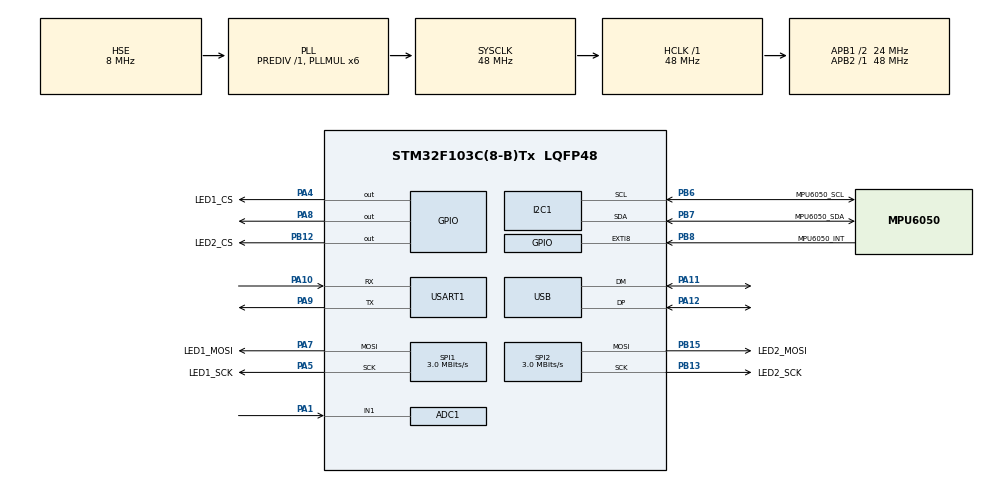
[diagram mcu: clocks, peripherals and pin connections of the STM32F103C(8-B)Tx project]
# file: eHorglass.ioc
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ADC1.Channel-1\#ChannelRegularConversion=ADC_CHANNEL_1
ADC1.NbrOfConversionFlag=1
ADC1.Rank-1\#ChannelRegularConversion=1
ADC1.SamplingTime-1\#ChannelRegularConversion=ADC_SAMPLETIME_1CYCLE_5
ADC1.master=1
Dma.Request0=USART1_RX
Dma.USART1_RX.0.Direction=DMA_PERIPH_TO_MEMORY
Dma.USART1_RX.0.Instance=DMA1_Channel5
Dma.USART1_RX.0.MemDataAlignment=DMA_MDATAALIGN_BYTE
Dma.USART1_RX.0.MemInc=DMA_MINC_ENABLE
Dma.USART1_RX.0.Mode=DMA_NORMAL
Dma.USART1_RX.0.PeriphDataAlignment=DMA_PDATAALIGN_BYTE
Dma.USART1_RX.0.PeriphInc=DMA_PINC_DISABLE
Dma.USART1_RX.0.Priority=DMA_PRIORITY_LOW
I2C1.I2C_Mode=I2C_Fast
Mcu.Family=STM32F1
Mcu.Name=STM32F103C(8-B)Tx
Mcu.Package=LQFP48
NVIC.I2C1_EV_IRQn=true\:0\:0\:false\:false\:true\:true\:true\:true
NVIC.PriorityGroup=NVIC_PRIORITYGROUP_4
NVIC.SPI1_IRQn=true\:0\:0\:false\:false\:true\:true\:true\:true
NVIC.SPI2_IRQn=true\:0\:0\:false\:false\:true\:true\:true\:true
NVIC.USART1_IRQn=true\:0\:0\:false\:false\:true\:true\:true\:true
NVIC.USB_LP_CAN1_RX0_IRQn=true\:0\:0\:false\:false\:true\:false\:true\:true
PA1.Signal=ADCx_IN1
PA10.Mode=Asynchronous
PA10.Signal=USART1_RX
PA11.Mode=Device
PA11.Signal=USB_DM
PA12.Mode=Device
PA12.Signal=USB_DP
PA13.GPIO_Label=SWDIO
PA13.Mode=Serial_Wire
PA13.Signal=SYS_JTMS-SWDIO
PA14.GPIO_Label=SWCLK
PA14.Mode=Serial_Wire
PA14.Signal=SYS_JTCK-SWCLK
PA4.GPIO_Label=LED1_CS
PA4.Signal=GPIO_Output
PA5.GPIO_Label=LED1_SCK
PA5.Mode=TX_Only_Simplex_Unidirect_Master
PA5.Signal=SPI1_SCK
PA7.GPIO_Label=LED1_MOSI
PA7.Mode=TX_Only_Simplex_Unidirect_Master
PA7.Signal=SPI1_MOSI
PA8.GPIO_ModeDefaultOutputPP=GPIO_MODE_OUTPUT_OD
PA8.GPIO_PuPd=GPIO_PULLUP
PA8.Signal=GPIO_Output
PA9.Mode=Asynchronous
PA9.Signal=USART1_TX
PB12.GPIO_Label=LED2_CS
PB12.Signal=GPIO_Output
PB13.GPIO_Label=LED2_SCK
PB13.Mode=TX_Only_Simplex_Unidirect_Master
PB13.Signal=SPI2_SCK
PB15.GPIO_Label=LED2_MOSI
PB15.Mode=TX_Only_Simplex_Unidirect_Master
PB15.Signal=SPI2_MOSI
PB6.GPIO_Label=MPU6050_SCL
PB6.GPIO_Speed=GPIO_SPEED_FREQ_MEDIUM
PB6.Mode=I2C
PB6.Signal=I2C1_SCL
PB7.GPIO_Label=MPU6050_SDA
PB7.GPIO_Speed=GPIO_SPEED_FREQ_MEDIUM
PB7.Mode=I2C
PB7.Signal=I2C1_SDA
PB8.GPIO_Label=MPU6050_INT
PB8.Signal=GPXTI8
PD0-OSC_IN.Mode=HSE-External-Oscillator
PD0-OSC_IN.Signal=RCC_OSC_IN
PD1-OSC_OUT.Mode=HSE-External-Oscillator
PD1-OSC_OUT.Signal=RCC_OSC_OUT
ProjectManager.HeapSize=0x2000
ProjectManager.StackSize=0x2000
ProjectManager.TargetToolchain=EWARM V8.32
RCC.ADCPresc=RCC_ADCPCLK2_DIV4
RCC.AHBFreq_Value=48000000
RCC.APB1CLKDivider=RCC_HCLK_DIV2
RCC.APB1Freq_Value=24000000
RCC.APB1TimFreq_Value=48000000
RCC.APB2Freq_Value=48000000
RCC.APB2TimFreq_Value=48000000
RCC.HCLKFreq_Value=48000000
RCC.PLLMUL=RCC_PLL_MUL6
RCC.PLLSourceVirtual=RCC_PLLSOURCE_HSE
RCC.SYSCLKFreq_VALUE=48000000
RCC.SYSCLKSource=RCC_SYSCLKSOURCE_PLLCLK
RCC.USBFreq_Value=48000000
SH.ADCx_IN1.0=ADC1_IN1,IN1
SPI1.BaudRatePrescaler=SPI_BAUDRATEPRESCALER_16
SPI1.CalculateBaudRate=3.0 MBits/s
SPI1.Direction=SPI_DIRECTION_2LINES
SPI1.Mode=SPI_MODE_MASTER
SPI1.VirtualType=VM_MASTER
SPI2.BaudRatePrescaler=SPI_BAUDRATEPRESCALER_8
SPI2.CalculateBaudRate=3.0 MBits/s
SPI2.Direction=SPI_DIRECTION_2LINES
SPI2.Mode=SPI_MODE_MASTER
SPI2.VirtualType=VM_MASTER
TIM3.Prescaler=72-1
USART1.VirtualMode=VM_ASYNC
USB_DEVICE.CLASS_NAME_FS=CDC
USB_DEVICE.VirtualMode=Cdc
USB_DEVICE.VirtualModeFS=Cdc_FS
VP_TIM3_VS_ClockSourceINT.Mode=Internal
VP_USB_DEVICE_VS_USB_DEVICE_CDC_FS.Mode=CDC_FS
board=custom

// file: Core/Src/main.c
/* USER CODE BEGIN Header */
/**
 ******************************************************************************
 * @file           : main.c
 * @brief          : Main program body
 ******************************************************************************
 * @attention
 *
 * Copyright (c) 2023 STMicroelectronics.
 * All rights reserved.
 *
 * This software is licensed under terms that can be found in the LICENSE file
 * in the root directory of this software component.
 * If no LICENSE file comes with this software, it is provided AS-IS.
 *
 ******************************************************************************
 */
/* USER CODE END Header */
#include "main.h"
#include "adc.h"
#include "dma.h"
#include "i2c.h"
#include "spi.h"
#include "tim.h"
#include "usart.h"
#include "usb_device.h"
#include "gpio.h"

/* USER CODE BEGIN Includes */
#include "usbd_cdc_if.h"
#include "stdio.h"
#include "stdlib.h"
#include "string.h"
#include "spi.h"
#include "MAX7219.h"
#include "MPU6050.h"
#include "common.h"
#include "SandMove.h"
#include "Runtime.h"
#include "AT.h"
#include "Parameter.h"
/* USER CODE END Includes */

/* USER CODE BEGIN PTD */
#define UART_BUFFER_SIZE 256
/* USER CODE END PTD */

/* USER CODE BEGIN PM */
struct parameters runPara;
uint8_t ledScreen1[LED_WIDTH * LED_WIDTH];
uint8_t ledScreen2[LED_WIDTH * LED_WIDTH];
uint8_t ledScreenData1[LED_WIDTH];
uint8_t ledScreenData2[LED_WIDTH];
uint8_t Uart_Buffer[UART_BUFFER_SIZE];
/* USER CODE END PM */

/* USER CODE BEGIN PV */
void HAL_UARTEx_RxEventCallback(UART_HandleTypeDef* huart, uint16_t Size)
{
    if (huart == &huart1)
    {
        AT_ParseCommand(Uart_Buffer);
        memset(Uart_Buffer, 0, UART_BUFFER_SIZE);
        HAL_UARTEx_ReceiveToIdle_DMA(&huart1, Uart_Buffer, UART_BUFFER_SIZE);
    }
}
/* USER CODE END PV */

void SystemClock_Config(void);

int main(void)
{

  /* MCU Configuration--------------------------------------------------------*/

  /* Reset of all peripherals, Initializes the Flash interface and the Systick. */
  HAL_Init();

  /* Configure the system clock */
  SystemClock_Config();

  /* Initialize all configured peripherals */
  MX_GPIO_Init();
  MX_DMA_Init();
  MX_I2C1_Init();
  MX_SPI1_Init();
  MX_SPI2_Init();
  MX_USART1_UART_Init();
  MX_USB_DEVICE_Init();
  MX_ADC1_Init();
  MX_TIM3_Init();
  /* USER CODE BEGIN 2 */

    max7219_handle led1_handle;
    max7219_handle led2_handle;
    led1_handle.spiHandle = &hspi1;
    led1_handle.CS_GPIO = LED1_CS_GPIO_Port;
    led1_handle.CS_Pin = LED1_CS_Pin;
    led2_handle.spiHandle = &hspi2;
    led2_handle.CS_GPIO = LED2_CS_GPIO_Port;
    led2_handle.CS_Pin = LED2_CS_Pin;
    Max7219_Init(led1_handle);
    Max7219_Init(led2_handle);
    Max7219_DisplayNromal(led1_handle);
    Max7219_DisplayNromal(led2_handle);

    LoadParameters(&runPara);
    AT_Init(&runPara);
    Runtime_Init();
    HAL_ADC_Start(&hadc1);
    HAL_ADC_PollForConversion(&hadc1, 50);
    uint16_t ADC_vaule = HAL_ADC_GetValue(&hadc1);

    MPU6050_Init();
    while(MPU6050ReadID() == 0){
      MPU6050_Init();
      HAL_Delay(200);
    }

    srand(ADC_vaule);

    HAL_Delay(200);
    uint8_t gDirection = MPU6050_GetDirection(0);

    for (uint8_t i = 0;i < LED_WIDTH * LED_WIDTH;i++) {
        ledScreen1[i] = EMPTY;
        ledScreen2[i] = EMPTY;
    }
    if (Sand_GetUpLed(gDirection) == LED_SCREEN_1) {
        for (uint8_t i = 0;i < runPara.sandNum;i++) {
            coord xy = Sand_GetLoopCoord(i, gDirection, LEFT);
            ledScreen1[xy.x * LED_WIDTH + xy.y] = FULL;
        }
    }
    else {
        for (uint8_t i = 0;i < runPara.sandNum;i++) {
            coord xy = Sand_GetLoopCoord(i, gDirection, LEFT);
            ledScreen2[xy.x * LED_WIDTH + xy.y] = FULL;
        }
    }

    memset(Uart_Buffer, 0, UART_BUFFER_SIZE);
    HAL_UARTEx_ReceiveToIdle_DMA(&huart1, Uart_Buffer, UART_BUFFER_SIZE);

    Max7219_Display(led1_handle, 0, ledScreenData1);
    Max7219_Display(led2_handle, 0, ledScreenData2);
  /* USER CODE END 2 */

  /* Infinite loop */
    while (1)
    {

    /* USER CODE BEGIN 3 */

        Runtime_Start();

        gDirection = MPU6050_GetDirection(0);

        uint8_t upLED = Sand_GetUpLed(gDirection);
        uint8_t downLED = Sand_GetDownLed(gDirection);
        uint8_t* nowScreen = NULL;
        uint8_t* nextScreen = NULL;
        uint8_t nowLEDNum = downLED;
        for (uint8_t i = 0;i < LED_WIDTH;i++) {
            for (uint8_t j = 0;j < LED_WIDTH;j++) {
                if (upLED == LED_SCREEN_1) {
                    nowScreen = ledScreen2;
                    nextScreen = ledScreen1;
                }
                else {
                    nowScreen = ledScreen1;
                    nextScreen = ledScreen2;
                }
            }
        }

        Sand_UpdateScreen(nowScreen, nextScreen, nowLEDNum, runPara.sandNum, gDirection);
        nowLEDNum = 1 - nowLEDNum;
        Sand_UpdateScreen(nextScreen, nowScreen, nowLEDNum, runPara.sandNum, gDirection);

        for (uint8_t i = 0;i < LED_WIDTH;i++) {
            uint8_t ledBuf1 = 0;
            uint8_t ledBuf2 = 0;
            for (uint8_t j = 0;j < LED_WIDTH;j++) {
                ledBuf1 = ledBuf1 + (ledScreen1[i * LED_WIDTH + j] << j);
                ledBuf2 = ledBuf2 + (ledScreen2[i * LED_WIDTH + j] << j);
            }
            ledScreenData1[i] = ledBuf1;
            ledScreenData2[i] = ledBuf2;
        }
        Max7219_Display(led1_handle, 0, ledScreenData1);
        Max7219_Display(led2_handle, 0, ledScreenData2);
        uint32_t codeRuntime = Runtime_Stop() / 1000;
        if (codeRuntime < runPara.frameTime) {
            HAL_Delay(runPara.frameTime - codeRuntime);
        }
        //HAL_GPIO_TogglePin(TEST_GPIO_Port, TEST_Pin);
    }
  /* USER CODE END 3 */
}

void SystemClock_Config(void)
{
  RCC_OscInitTypeDef RCC_OscInitStruct = {0};
  RCC_ClkInitTypeDef RCC_ClkInitStruct = {0};
  RCC_PeriphCLKInitTypeDef PeriphClkInit = {0};

  /** Initializes the RCC Oscillators according to the specified parameters
  * in the RCC_OscInitTypeDef structure.
  */
  RCC_OscInitStruct.OscillatorType = RCC_OSCILLATORTYPE_HSE;
  RCC_OscInitStruct.HSEState = RCC_HSE_ON;
  RCC_OscInitStruct.HSEPredivValue = RCC_HSE_PREDIV_DIV1;
  RCC_OscInitStruct.HSIState = RCC_HSI_ON;
  RCC_OscInitStruct.PLL.PLLState = RCC_PLL_ON;
  RCC_OscInitStruct.PLL.PLLSource = RCC_PLLSOURCE_HSE;
  RCC_OscInitStruct.PLL.PLLMUL = RCC_PLL_MUL6;
  if (HAL_RCC_OscConfig(&RCC_OscInitStruct) != HAL_OK)
  {
    Error_Handler();
  }

  /** Initializes the CPU, AHB and APB buses clocks
  */
  RCC_ClkInitStruct.ClockType = RCC_CLOCKTYPE_HCLK|RCC_CLOCKTYPE_SYSCLK
                              |RCC_CLOCKTYPE_PCLK1|RCC_CLOCKTYPE_PCLK2;
  RCC_ClkInitStruct.SYSCLKSource = RCC_SYSCLKSOURCE_PLLCLK;
  RCC_ClkInitStruct.AHBCLKDivider = RCC_SYSCLK_DIV1;
  RCC_ClkInitStruct.APB1CLKDivider = RCC_HCLK_DIV2;
  RCC_ClkInitStruct.APB2CLKDivider = RCC_HCLK_DIV1;

  if (HAL_RCC_ClockConfig(&RCC_ClkInitStruct, FLASH_LATENCY_1) != HAL_OK)
  {
    Error_Handler();
  }
  PeriphClkInit.PeriphClockSelection = RCC_PERIPHCLK_ADC|RCC_PERIPHCLK_USB;
  PeriphClkInit.AdcClockSelection = RCC_ADCPCLK2_DIV4;
  PeriphClkInit.UsbClockSelection = RCC_USBCLKSOURCE_PLL;
  if (HAL_RCCEx_PeriphCLKConfig(&PeriphClkInit) != HAL_OK)
  {
    Error_Handler();
  }
}

void Error_Handler(void)
{
    __disable_irq();
    while (1)
    {
    }
}
